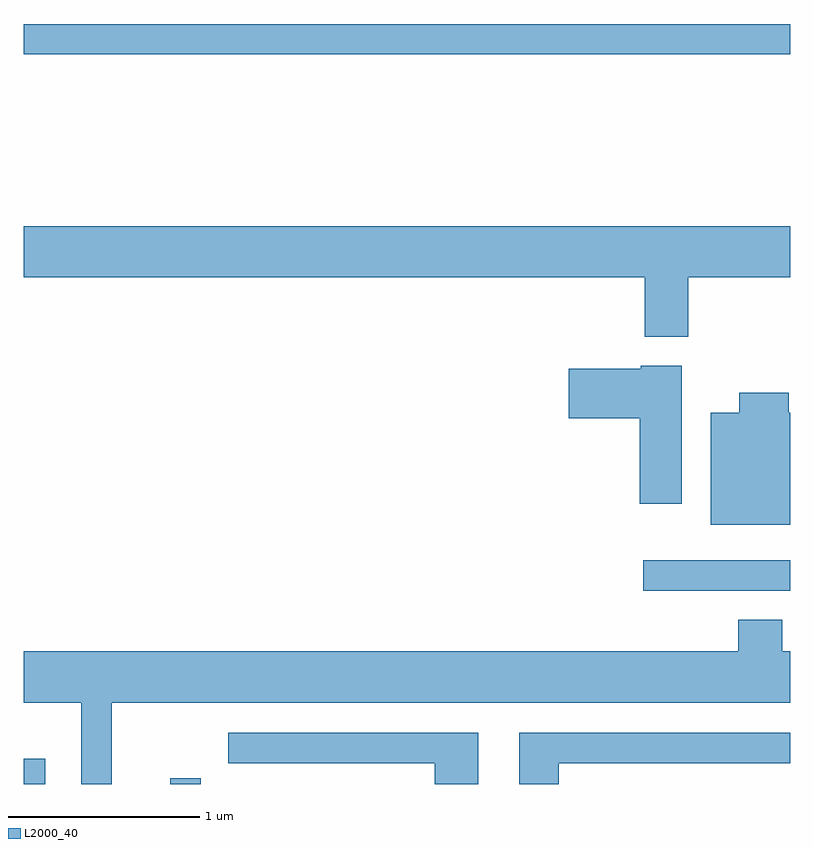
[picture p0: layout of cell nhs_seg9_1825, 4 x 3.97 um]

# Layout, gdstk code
import gdstk
lib = gdstk.Library(unit=1e-6, precision=1e-09)
def R(c, l, rs):  # rectangles x0, y0, x1, y1
    for r in rs: c.add(gdstk.rectangle(r[:2], r[2:], *l))
def P(c, l, *ps):  # polygons
    for p in ps: c.add(gdstk.Polygon(p, *l))
L2000_40 = (2000, 40)

nhs_seg9_1825 = lib.new_cell('nhs_seg9_1825')
R(nhs_seg9_1825, L2000_40, [(237.611,2062.432,237.724,2062.564), (238.376,2062.432,238.534,2062.463), (240.843,2063.441,241.611,2063.599), (237.611,2066.241,241.611,2066.399)])
P(nhs_seg9_1825, L2000_40, [(241.079,2065.076),(241.611,2065.076),(241.611,2065.344),(237.611,2065.344),(237.611,2065.076),(240.851,2065.076),(240.851,2064.766),(241.079,2064.766)],
  [(241.044,2064.614),(240.83,2064.614),(240.83,2064.599),(240.456,2064.599),(240.456,2064.341),(240.826,2064.341),(240.826,2063.896),(241.044,2063.896)],
  [(241.611,2064.369),(241.604,2064.369),(241.604,2064.474),(241.346,2064.474),(241.346,2064.369),(241.196,2064.369),(241.196,2063.786),(241.611,2063.786)],
  [(238.069,2062.856),(241.611,2062.856),(241.611,2063.124),(241.569,2063.124),(241.569,2063.289),(241.341,2063.289),(241.341,2063.124),(237.611,2063.124),(237.611,2062.856),(237.911,2062.856),(237.911,2062.432),(238.069,2062.432)],
  [(239.984,2062.699),(238.678,2062.699),(238.678,2062.541),(239.756,2062.541),(239.756,2062.432),(239.984,2062.432)],
  [(240.404,2062.541),(241.611,2062.541),(241.611,2062.699),(240.196,2062.699),(240.196,2062.432),(240.404,2062.432)])

lib.write_gds('nhs_seg9_1825.gds')
